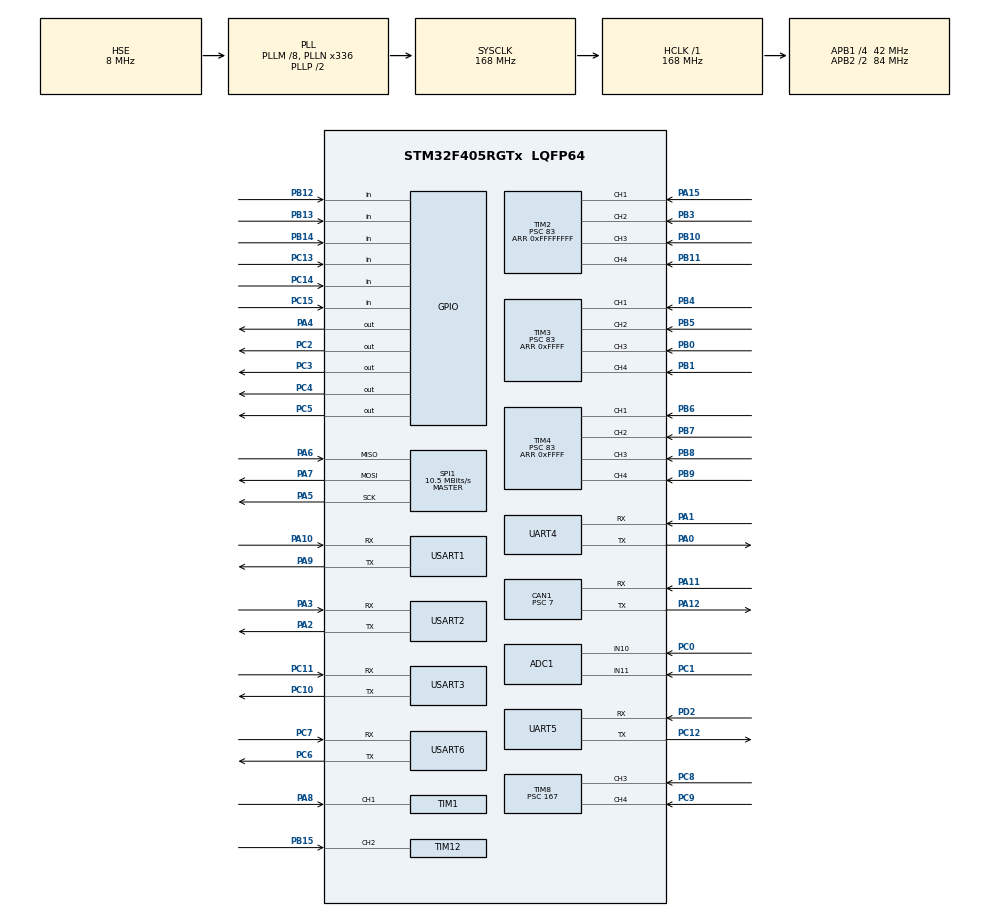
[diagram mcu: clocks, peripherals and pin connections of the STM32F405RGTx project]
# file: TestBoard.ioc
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ADC1.Channel-0\#ChannelRegularConversion=ADC_CHANNEL_10
ADC1.Channel-1\#ChannelRegularConversion=ADC_CHANNEL_11
ADC1.Channel-2\#ChannelRegularConversion=ADC_CHANNEL_VREFINT
ADC1.ContinuousConvMode=ENABLE
ADC1.DMAContinuousRequests=ENABLE
ADC1.NbrOfConversion=3
ADC1.NbrOfConversionFlag=1
ADC1.Rank-0\#ChannelRegularConversion=1
ADC1.Rank-1\#ChannelRegularConversion=2
ADC1.Rank-2\#ChannelRegularConversion=3
ADC1.SamplingTime-0\#ChannelRegularConversion=ADC_SAMPLETIME_480CYCLES
ADC1.SamplingTime-1\#ChannelRegularConversion=ADC_SAMPLETIME_480CYCLES
ADC1.SamplingTime-2\#ChannelRegularConversion=ADC_SAMPLETIME_480CYCLES
ADC1.ScanConvMode=ENABLE
ADC1.master=1
CAN1.ABOM=ENABLE
CAN1.BS1=CAN_BS1_3TQ
CAN1.BS2=CAN_BS2_2TQ
CAN1.CalculateTimeQuantum=166.66666666666669
CAN1.Prescaler=7
Dma.ADC1.12.Direction=DMA_PERIPH_TO_MEMORY
Dma.ADC1.12.FIFOMode=DMA_FIFOMODE_DISABLE
Dma.ADC1.12.Instance=DMA2_Stream0
Dma.ADC1.12.MemDataAlignment=DMA_MDATAALIGN_HALFWORD
Dma.ADC1.12.MemInc=DMA_MINC_ENABLE
Dma.ADC1.12.Mode=DMA_CIRCULAR
Dma.ADC1.12.PeriphDataAlignment=DMA_PDATAALIGN_HALFWORD
Dma.ADC1.12.PeriphInc=DMA_PINC_DISABLE
Dma.ADC1.12.Priority=DMA_PRIORITY_LOW
Dma.Request0=USART1_RX
Dma.Request1=USART1_TX
Dma.Request10=USART6_RX
Dma.Request11=USART6_TX
Dma.Request12=ADC1
Dma.Request2=USART2_RX
Dma.Request3=USART2_TX
Dma.Request4=USART3_RX
Dma.Request5=USART3_TX
Dma.Request6=UART4_RX
Dma.Request7=UART4_TX
Dma.Request8=UART5_RX
Dma.Request9=UART5_TX
Dma.UART4_RX.6.Direction=DMA_PERIPH_TO_MEMORY
Dma.UART4_RX.6.FIFOMode=DMA_FIFOMODE_DISABLE
Dma.UART4_RX.6.Instance=DMA1_Stream2
Dma.UART4_RX.6.MemDataAlignment=DMA_MDATAALIGN_BYTE
Dma.UART4_RX.6.MemInc=DMA_MINC_ENABLE
Dma.UART4_RX.6.Mode=DMA_CIRCULAR
Dma.UART4_RX.6.PeriphDataAlignment=DMA_PDATAALIGN_BYTE
Dma.UART4_RX.6.PeriphInc=DMA_PINC_DISABLE
Dma.UART4_RX.6.Priority=DMA_PRIORITY_LOW
Dma.UART4_TX.7.Direction=DMA_MEMORY_TO_PERIPH
Dma.UART4_TX.7.FIFOMode=DMA_FIFOMODE_DISABLE
Dma.UART4_TX.7.Instance=DMA1_Stream4
Dma.UART4_TX.7.MemDataAlignment=DMA_MDATAALIGN_BYTE
Dma.UART4_TX.7.MemInc=DMA_MINC_ENABLE
Dma.UART4_TX.7.Mode=DMA_NORMAL
Dma.UART4_TX.7.PeriphDataAlignment=DMA_PDATAALIGN_BYTE
Dma.UART4_TX.7.PeriphInc=DMA_PINC_DISABLE
Dma.UART4_TX.7.Priority=DMA_PRIORITY_LOW
Dma.UART5_RX.8.Direction=DMA_PERIPH_TO_MEMORY
Dma.UART5_RX.8.FIFOMode=DMA_FIFOMODE_DISABLE
Dma.UART5_RX.8.Instance=DMA1_Stream0
Dma.UART5_RX.8.MemDataAlignment=DMA_MDATAALIGN_BYTE
Dma.UART5_RX.8.MemInc=DMA_MINC_ENABLE
Dma.UART5_RX.8.Mode=DMA_CIRCULAR
Dma.UART5_RX.8.PeriphDataAlignment=DMA_PDATAALIGN_BYTE
Dma.UART5_RX.8.PeriphInc=DMA_PINC_DISABLE
Dma.UART5_RX.8.Priority=DMA_PRIORITY_LOW
Dma.UART5_TX.9.Direction=DMA_MEMORY_TO_PERIPH
Dma.UART5_TX.9.FIFOMode=DMA_FIFOMODE_DISABLE
Dma.UART5_TX.9.Instance=DMA1_Stream7
Dma.UART5_TX.9.MemDataAlignment=DMA_MDATAALIGN_BYTE
Dma.UART5_TX.9.MemInc=DMA_MINC_ENABLE
Dma.UART5_TX.9.Mode=DMA_NORMAL
Dma.UART5_TX.9.PeriphDataAlignment=DMA_PDATAALIGN_BYTE
Dma.UART5_TX.9.PeriphInc=DMA_PINC_DISABLE
Dma.UART5_TX.9.Priority=DMA_PRIORITY_LOW
Dma.USART1_RX.0.Direction=DMA_PERIPH_TO_MEMORY
Dma.USART1_RX.0.FIFOMode=DMA_FIFOMODE_DISABLE
Dma.USART1_RX.0.Instance=DMA2_Stream2
Dma.USART1_RX.0.MemDataAlignment=DMA_MDATAALIGN_BYTE
Dma.USART1_RX.0.MemInc=DMA_MINC_ENABLE
Dma.USART1_RX.0.Mode=DMA_CIRCULAR
Dma.USART1_RX.0.PeriphDataAlignment=DMA_PDATAALIGN_BYTE
Dma.USART1_RX.0.PeriphInc=DMA_PINC_DISABLE
Dma.USART1_RX.0.Priority=DMA_PRIORITY_LOW
Dma.USART1_TX.1.Direction=DMA_MEMORY_TO_PERIPH
Dma.USART1_TX.1.FIFOMode=DMA_FIFOMODE_DISABLE
Dma.USART1_TX.1.Instance=DMA2_Stream7
Dma.USART1_TX.1.MemDataAlignment=DMA_MDATAALIGN_BYTE
Dma.USART1_TX.1.MemInc=DMA_MINC_ENABLE
Dma.USART1_TX.1.Mode=DMA_NORMAL
Dma.USART1_TX.1.PeriphDataAlignment=DMA_PDATAALIGN_BYTE
Dma.USART1_TX.1.PeriphInc=DMA_PINC_DISABLE
Dma.USART1_TX.1.Priority=DMA_PRIORITY_LOW
Dma.USART2_RX.2.Direction=DMA_PERIPH_TO_MEMORY
Dma.USART2_RX.2.FIFOMode=DMA_FIFOMODE_DISABLE
Dma.USART2_RX.2.Instance=DMA1_Stream5
Dma.USART2_RX.2.MemDataAlignment=DMA_MDATAALIGN_BYTE
Dma.USART2_RX.2.MemInc=DMA_MINC_ENABLE
Dma.USART2_RX.2.Mode=DMA_CIRCULAR
Dma.USART2_RX.2.PeriphDataAlignment=DMA_PDATAALIGN_BYTE
Dma.USART2_RX.2.PeriphInc=DMA_PINC_DISABLE
Dma.USART2_RX.2.Priority=DMA_PRIORITY_LOW
Dma.USART2_TX.3.Direction=DMA_MEMORY_TO_PERIPH
Dma.USART2_TX.3.FIFOMode=DMA_FIFOMODE_DISABLE
Dma.USART2_TX.3.Instance=DMA1_Stream6
Dma.USART2_TX.3.MemDataAlignment=DMA_MDATAALIGN_BYTE
Dma.USART2_TX.3.MemInc=DMA_MINC_ENABLE
Dma.USART2_TX.3.Mode=DMA_NORMAL
Dma.USART2_TX.3.PeriphDataAlignment=DMA_PDATAALIGN_BYTE
Dma.USART2_TX.3.PeriphInc=DMA_PINC_DISABLE
Dma.USART2_TX.3.Priority=DMA_PRIORITY_LOW
Dma.USART3_RX.4.Direction=DMA_PERIPH_TO_MEMORY
Dma.USART3_RX.4.FIFOMode=DMA_FIFOMODE_DISABLE
Dma.USART3_RX.4.Instance=DMA1_Stream1
Dma.USART3_RX.4.MemDataAlignment=DMA_MDATAALIGN_BYTE
Dma.USART3_RX.4.MemInc=DMA_MINC_ENABLE
Dma.USART3_RX.4.Mode=DMA_CIRCULAR
Dma.USART3_RX.4.PeriphDataAlignment=DMA_PDATAALIGN_BYTE
Dma.USART3_RX.4.PeriphInc=DMA_PINC_DISABLE
Dma.USART3_RX.4.Priority=DMA_PRIORITY_LOW
Dma.USART3_TX.5.Direction=DMA_MEMORY_TO_PERIPH
Dma.USART3_TX.5.FIFOMode=DMA_FIFOMODE_DISABLE
Dma.USART3_TX.5.Instance=DMA1_Stream3
Dma.USART3_TX.5.MemDataAlignment=DMA_MDATAALIGN_BYTE
Dma.USART3_TX.5.MemInc=DMA_MINC_ENABLE
Dma.USART3_TX.5.Mode=DMA_NORMAL
Dma.USART3_TX.5.PeriphDataAlignment=DMA_PDATAALIGN_BYTE
Dma.USART3_TX.5.PeriphInc=DMA_PINC_DISABLE
Dma.USART3_TX.5.Priority=DMA_PRIORITY_LOW
Dma.USART6_RX.10.Direction=DMA_PERIPH_TO_MEMORY
Dma.USART6_RX.10.FIFOMode=DMA_FIFOMODE_DISABLE
Dma.USART6_RX.10.Instance=DMA2_Stream1
Dma.USART6_RX.10.MemDataAlignment=DMA_MDATAALIGN_BYTE
Dma.USART6_RX.10.MemInc=DMA_MINC_ENABLE
Dma.USART6_RX.10.Mode=DMA_CIRCULAR
Dma.USART6_RX.10.PeriphDataAlignment=DMA_PDATAALIGN_BYTE
Dma.USART6_RX.10.PeriphInc=DMA_PINC_DISABLE
Dma.USART6_RX.10.Priority=DMA_PRIORITY_LOW
Dma.USART6_TX.11.Direction=DMA_MEMORY_TO_PERIPH
Dma.USART6_TX.11.FIFOMode=DMA_FIFOMODE_DISABLE
Dma.USART6_TX.11.Instance=DMA2_Stream6
Dma.USART6_TX.11.MemDataAlignment=DMA_MDATAALIGN_BYTE
Dma.USART6_TX.11.MemInc=DMA_MINC_ENABLE
Dma.USART6_TX.11.Mode=DMA_NORMAL
Dma.USART6_TX.11.PeriphDataAlignment=DMA_PDATAALIGN_BYTE
Dma.USART6_TX.11.PeriphInc=DMA_PINC_DISABLE
Dma.USART6_TX.11.Priority=DMA_PRIORITY_LOW
Mcu.Family=STM32F4
Mcu.Name=STM32F405RGTx
Mcu.Package=LQFP64
NVIC.CAN1_RX0_IRQn=true\:0\:0\:false\:false\:true\:true\:true
NVIC.DMA1_Stream0_IRQn=true\:0\:0\:false\:false\:true\:false\:true
NVIC.DMA1_Stream1_IRQn=true\:0\:0\:false\:false\:true\:false\:true
NVIC.DMA1_Stream2_IRQn=true\:0\:0\:false\:false\:true\:false\:true
NVIC.DMA1_Stream3_IRQn=true\:0\:0\:false\:false\:true\:false\:true
NVIC.DMA1_Stream4_IRQn=true\:0\:0\:false\:false\:true\:false\:true
NVIC.DMA1_Stream5_IRQn=true\:0\:0\:false\:false\:true\:false\:true
NVIC.DMA1_Stream6_IRQn=true\:0\:0\:false\:false\:true\:false\:true
NVIC.DMA1_Stream7_IRQn=true\:0\:0\:false\:false\:true\:false\:true
NVIC.DMA2_Stream0_IRQn=true\:0\:0\:false\:false\:true\:false\:true
NVIC.DMA2_Stream1_IRQn=true\:0\:0\:false\:false\:true\:false\:true
NVIC.DMA2_Stream2_IRQn=true\:0\:0\:false\:false\:true\:false\:true
NVIC.DMA2_Stream6_IRQn=true\:0\:0\:false\:false\:true\:false\:true
NVIC.DMA2_Stream7_IRQn=true\:0\:0\:false\:false\:true\:false\:true
NVIC.PriorityGroup=NVIC_PRIORITYGROUP_1
NVIC.TIM1_CC_IRQn=true\:0\:0\:false\:false\:true\:true\:true
NVIC.TIM2_IRQn=true\:0\:0\:false\:false\:true\:true\:true
NVIC.TIM3_IRQn=true\:0\:0\:false\:false\:true\:true\:true
NVIC.TIM4_IRQn=true\:0\:0\:false\:false\:true\:true\:true
NVIC.TIM8_BRK_TIM12_IRQn=true\:0\:0\:false\:false\:true\:true\:true
NVIC.TIM8_CC_IRQn=true\:0\:0\:false\:false\:true\:true\:true
NVIC.UART4_IRQn=true\:0\:4\:false\:false\:true\:true\:true
NVIC.UART5_IRQn=true\:0\:5\:false\:false\:true\:true\:true
NVIC.USART1_IRQn=true\:0\:1\:false\:false\:true\:true\:true
NVIC.USART2_IRQn=true\:0\:2\:false\:false\:true\:true\:true
NVIC.USART3_IRQn=true\:0\:3\:false\:false\:true\:true\:true
NVIC.USART6_IRQn=true\:0\:6\:false\:false\:true\:true\:true
PA0-WKUP.Mode=Asynchronous
PA0-WKUP.Signal=UART4_TX
PA1.Mode=Asynchronous
PA1.Signal=UART4_RX
PA10.Mode=Asynchronous
PA10.Signal=USART1_RX
PA11.Mode=Master
PA11.Signal=CAN1_RX
PA12.Mode=Master
PA12.Signal=CAN1_TX
PA13.Mode=Serial_Wire
PA13.Signal=SYS_JTMS-SWDIO
PA14.Mode=Serial_Wire
PA14.Signal=SYS_JTCK-SWCLK
PA15.Signal=S_TIM2_CH1_ETR
PA2.Mode=Asynchronous
PA2.Signal=USART2_TX
PA3.Mode=Asynchronous
PA3.Signal=USART2_RX
PA4.Signal=GPIO_Output
PA5.Mode=Full_Duplex_Master
PA5.Signal=SPI1_SCK
PA6.Mode=Full_Duplex_Master
PA6.Signal=SPI1_MISO
PA7.Mode=Full_Duplex_Master
PA7.Signal=SPI1_MOSI
PA8.Signal=S_TIM1_CH1
PA9.Mode=Asynchronous
PA9.Signal=USART1_TX
PB0.Signal=S_TIM3_CH3
PB1.Signal=S_TIM3_CH4
PB10.Signal=S_TIM2_CH3
PB11.Signal=S_TIM2_CH4
PB12.GPIO_PuPd=GPIO_PULLDOWN
PB12.Signal=GPIO_Input
PB13.GPIO_PuPd=GPIO_PULLDOWN
PB13.Signal=GPIO_Input
PB14.GPIO_PuPd=GPIO_PULLDOWN
PB14.Signal=GPIO_Input
PB15.Signal=S_TIM12_CH2
PB3.Signal=S_TIM2_CH2
PB4.Signal=S_TIM3_CH1
PB5.Signal=S_TIM3_CH2
PB6.Signal=S_TIM4_CH1
PB7.Signal=S_TIM4_CH2
PB8.Signal=S_TIM4_CH3
PB9.Signal=S_TIM4_CH4
PC0.Signal=ADCx_IN10
PC1.Signal=ADCx_IN11
PC10.Mode=Asynchronous
PC10.Signal=USART3_TX
PC11.Mode=Asynchronous
PC11.Signal=USART3_RX
PC12.Mode=Asynchronous
PC12.Signal=UART5_TX
PC13-ANTI_TAMP.GPIO_PuPd=GPIO_PULLDOWN
PC13-ANTI_TAMP.Signal=GPIO_Input
PC14-OSC32_IN.GPIO_PuPd=GPIO_PULLDOWN
PC14-OSC32_IN.Signal=GPIO_Input
PC15-OSC32_OUT.GPIO_PuPd=GPIO_PULLDOWN
PC15-OSC32_OUT.Signal=GPIO_Input
PC2.Signal=GPIO_Output
PC3.Signal=GPIO_Output
PC4.Signal=GPIO_Output
PC5.Signal=GPIO_Output
PC6.Mode=Asynchronous
PC6.Signal=USART6_TX
PC7.Mode=Asynchronous
PC7.Signal=USART6_RX
PC8.Signal=S_TIM8_CH3
PC9.Signal=S_TIM8_CH4
PD2.Mode=Asynchronous
PD2.Signal=UART5_RX
PH0-OSC_IN.Mode=HSE-External-Oscillator
PH0-OSC_IN.Signal=RCC_OSC_IN
PH1-OSC_OUT.Mode=HSE-External-Oscillator
PH1-OSC_OUT.Signal=RCC_OSC_OUT
ProjectManager.HeapSize=0x200
ProjectManager.StackSize=0x400
ProjectManager.TargetToolchain=Makefile
RCC.48MHZClocksFreq_Value=84000000
RCC.AHBFreq_Value=168000000
RCC.APB1CLKDivider=RCC_HCLK_DIV4
RCC.APB1Freq_Value=42000000
RCC.APB1TimFreq_Value=84000000
RCC.APB2CLKDivider=RCC_HCLK_DIV2
RCC.APB2Freq_Value=84000000
RCC.APB2TimFreq_Value=168000000
RCC.CortexFreq_Value=168000000
RCC.HCLKFreq_Value=168000000
RCC.HSE_VALUE=8000000
RCC.HSI_VALUE=16000000
RCC.LSE_VALUE=32768
RCC.PLLM=8
RCC.PLLN=336
RCC.PLLSourceVirtual=RCC_PLLSOURCE_HSE
RCC.SYSCLKFreq_VALUE=168000000
RCC.SYSCLKSource=RCC_SYSCLKSOURCE_PLLCLK
RCC.VCOOutputFreq_Value=336000000
SH.ADCx_IN10.0=ADC1_IN10,IN10
SH.ADCx_IN11.0=ADC1_IN11,IN11
SH.S_TIM12_CH2.0=TIM12_CH2,Input_Capture2_from_TI2
SH.S_TIM1_CH1.0=TIM1_CH1,Input_Capture1_from_TI1
SH.S_TIM2_CH1_ETR.0=TIM2_CH1,Input_Capture1_from_TI1
SH.S_TIM2_CH2.0=TIM2_CH2,Input_Capture2_from_TI2
SH.S_TIM2_CH3.0=TIM2_CH3,Input_Capture3_from_TI3
SH.S_TIM2_CH4.0=TIM2_CH4,Input_Capture4_from_TI4
SH.S_TIM3_CH1.0=TIM3_CH1,Input_Capture1_from_TI1
SH.S_TIM3_CH2.0=TIM3_CH2,Input_Capture2_from_TI2
SH.S_TIM3_CH3.0=TIM3_CH3,Input_Capture3_from_TI3
SH.S_TIM3_CH4.0=TIM3_CH4,Input_Capture4_from_TI4
SH.S_TIM4_CH1.0=TIM4_CH1,Input_Capture1_from_TI1
SH.S_TIM4_CH2.0=TIM4_CH2,Input_Capture2_from_TI2
SH.S_TIM4_CH3.0=TIM4_CH3,Input_Capture3_from_TI3
SH.S_TIM4_CH4.0=TIM4_CH4,Input_Capture4_from_TI4
SH.S_TIM8_CH3.0=TIM8_CH3,Input_Capture3_from_TI3
SH.S_TIM8_CH4.0=TIM8_CH4,Input_Capture4_from_TI4
SPI1.BaudRatePrescaler=SPI_BAUDRATEPRESCALER_8
SPI1.CLKPolarity=SPI_POLARITY_LOW
SPI1.CalculateBaudRate=10.5 MBits/s
SPI1.DataSize=SPI_DATASIZE_16BIT
SPI1.Direction=SPI_DIRECTION_2LINES
SPI1.Mode=SPI_MODE_MASTER
SPI1.VirtualType=VM_MASTER
TIM1.Channel-Input_Capture1_from_TI1=TIM_CHANNEL_1
TIM1.ICPolarity_CH1=TIM_INPUTCHANNELPOLARITY_RISING
TIM1.Period=0xFFFF
TIM1.Prescaler=167
TIM12.Channel-Input_Capture2_from_TI2=TIM_CHANNEL_2
TIM12.ICPolarity_CH2=TIM_INPUTCHANNELPOLARITY_RISING
TIM12.Period=0xFFFF
TIM12.Prescaler=167
TIM2.Channel-Input_Capture1_from_TI1=TIM_CHANNEL_1
TIM2.Channel-Input_Capture2_from_TI2=TIM_CHANNEL_2
TIM2.Channel-Input_Capture3_from_TI3=TIM_CHANNEL_3
TIM2.Channel-Input_Capture4_from_TI4=TIM_CHANNEL_4
TIM2.ICPolarity_CH1=TIM_INPUTCHANNELPOLARITY_RISING
TIM2.ICPolarity_CH2=TIM_INPUTCHANNELPOLARITY_RISING
TIM2.ICPolarity_CH3=TIM_INPUTCHANNELPOLARITY_RISING
TIM2.ICPolarity_CH4=TIM_INPUTCHANNELPOLARITY_RISING
TIM2.Period=0xFFFFFFFF
TIM2.Prescaler=83
TIM3.Channel-Input_Capture1_from_TI1=TIM_CHANNEL_1
TIM3.Channel-Input_Capture2_from_TI2=TIM_CHANNEL_2
TIM3.Channel-Input_Capture3_from_TI3=TIM_CHANNEL_3
TIM3.Channel-Input_Capture4_from_TI4=TIM_CHANNEL_4
TIM3.ICPolarity_CH1=TIM_INPUTCHANNELPOLARITY_RISING
TIM3.ICPolarity_CH2=TIM_INPUTCHANNELPOLARITY_RISING
TIM3.ICPolarity_CH3=TIM_INPUTCHANNELPOLARITY_RISING
TIM3.ICPolarity_CH4=TIM_INPUTCHANNELPOLARITY_RISING
TIM3.Period=0xFFFF
TIM3.Prescaler=83
TIM4.Channel-Input_Capture1_from_TI1=TIM_CHANNEL_1
TIM4.Channel-Input_Capture2_from_TI2=TIM_CHANNEL_2
TIM4.Channel-Input_Capture3_from_TI3=TIM_CHANNEL_3
TIM4.Channel-Input_Capture4_from_TI4=TIM_CHANNEL_4
TIM4.ICPolarity_CH1=TIM_INPUTCHANNELPOLARITY_RISING
TIM4.ICPolarity_CH2=TIM_INPUTCHANNELPOLARITY_RISING
TIM4.ICPolarity_CH3=TIM_INPUTCHANNELPOLARITY_RISING
TIM4.ICPolarity_CH4=TIM_INPUTCHANNELPOLARITY_RISING
TIM4.Period=0xFFFF
TIM4.Prescaler=83
TIM8.Channel-Input_Capture3_from_TI3=TIM_CHANNEL_3
TIM8.Channel-Input_Capture4_from_TI4=TIM_CHANNEL_4
TIM8.ICPolarity_CH3=TIM_INPUTCHANNELPOLARITY_RISING
TIM8.ICPolarity_CH4=TIM_INPUTCHANNELPOLARITY_RISING
TIM8.Period=0xFFFF
TIM8.Prescaler=167
UART4.VirtualMode=Asynchronous
UART5.VirtualMode=Asynchronous
USART1.VirtualMode=VM_ASYNC
USART2.VirtualMode=VM_ASYNC
USART3.VirtualMode=VM_ASYNC
USART6.VirtualMode=VM_ASYNC
VP_ADC1_Vref_Input.Mode=IN-Vrefint
VP_TIM12_VS_ClockSourceINT.Mode=Internal
VP_TIM1_VS_ClockSourceINT.Mode=Internal
VP_TIM2_VS_ClockSourceINT.Mode=Internal
VP_TIM3_VS_ClockSourceINT.Mode=Internal
VP_TIM4_VS_ClockSourceINT.Mode=Internal
VP_TIM8_VS_ClockSourceINT.Mode=Internal
board=custom

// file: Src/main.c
/* USER CODE BEGIN Header */
/**
 ******************************************************************************
 * @file           : main.c
 * @brief          : Main program body
 ******************************************************************************
 * @attention
 *
 * <h2><center>&copy; Copyright (c) 2019 STMicroelectronics.
 * All rights reserved.</center></h2>
 *
 * This software component is licensed by ST under BSD 3-Clause license,
 * the "License"; You may not use this file except in compliance with the
 * License. You may obtain a copy of the License at:
 *                        opensource.org/licenses/BSD-3-Clause
 *
 ******************************************************************************
 */
/* USER CODE END Header */

#include "main.h"
#include "adc.h"
#include "can.h"
#include "dma.h"
#include "spi.h"
#include "tim.h"
#include "usart.h"
#include "gpio.h"

/* USER CODE BEGIN Includes */
#include "delay.h"
#include "soft_adc.h"
#include "soft_can.h"
#include "soft_dac.h"
#include "soft_gpio.h"
#include "soft_pwmin.h"
/* USER CODE END Includes */

void SystemClock_Config(void);

int main(void)
{

  /* MCU Configuration--------------------------------------------------------*/

  /* Reset of all peripherals, Initializes the Flash interface and the Systick. */
  HAL_Init();

  /* Configure the system clock */
  SystemClock_Config();

  /* Initialize all configured peripherals */
  MX_GPIO_Init();
  MX_DMA_Init();
  MX_ADC1_Init();
  MX_CAN1_Init();
  MX_SPI1_Init();
  MX_TIM1_Init();
  MX_TIM2_Init();
  MX_TIM3_Init();
  MX_TIM4_Init();
  MX_TIM8_Init();
  MX_TIM12_Init();
  MX_UART4_Init();
  MX_UART5_Init();
  MX_USART1_UART_Init();
  MX_USART2_UART_Init();
  MX_USART3_UART_Init();
  MX_USART6_UART_Init();
  /* USER CODE BEGIN 2 */
    CAN_Bus_FilterConfig();
    PwmCapture_Config();
    Usart_Config();
    ADC_Config();
    DAC_InitConfig();

    uint32_t lastTime, count;
  /* USER CODE END 2 */

  /* Infinite loop */
  /* USER CODE BEGIN WHILE */
    while (1)
    {
        HAL_Delay(50);
        DAC_SetCHVolt(0, 10.0f);
        DAC_SetCHVolt(1, 20.0f);
        DAC_SetCHVolt(2, 30.0f);
        DAC_SetCHVolt(3, 40.0f);

        // CAN_Bus_Service();

        // ADC_VoltageUpdate();

    /* USER CODE END WHILE */

    }
}

void SystemClock_Config(void)
{
  RCC_OscInitTypeDef RCC_OscInitStruct = {0};
  RCC_ClkInitTypeDef RCC_ClkInitStruct = {0};

  /** Configure the main internal regulator output voltage
  */
  __HAL_RCC_PWR_CLK_ENABLE();
  __HAL_PWR_VOLTAGESCALING_CONFIG(PWR_REGULATOR_VOLTAGE_SCALE1);
  /** Initializes the CPU, AHB and APB busses clocks
  */
  RCC_OscInitStruct.OscillatorType = RCC_OSCILLATORTYPE_HSE;
  RCC_OscInitStruct.HSEState = RCC_HSE_ON;
  RCC_OscInitStruct.PLL.PLLState = RCC_PLL_ON;
  RCC_OscInitStruct.PLL.PLLSource = RCC_PLLSOURCE_HSE;
  RCC_OscInitStruct.PLL.PLLM = 8;
  RCC_OscInitStruct.PLL.PLLN = 336;
  RCC_OscInitStruct.PLL.PLLP = RCC_PLLP_DIV2;
  RCC_OscInitStruct.PLL.PLLQ = 4;
  if (HAL_RCC_OscConfig(&RCC_OscInitStruct) != HAL_OK)
  {
    Error_Handler();
  }
  /** Initializes the CPU, AHB and APB busses clocks
  */
  RCC_ClkInitStruct.ClockType = RCC_CLOCKTYPE_HCLK|RCC_CLOCKTYPE_SYSCLK
                              |RCC_CLOCKTYPE_PCLK1|RCC_CLOCKTYPE_PCLK2;
  RCC_ClkInitStruct.SYSCLKSource = RCC_SYSCLKSOURCE_PLLCLK;
  RCC_ClkInitStruct.AHBCLKDivider = RCC_SYSCLK_DIV1;
  RCC_ClkInitStruct.APB1CLKDivider = RCC_HCLK_DIV4;
  RCC_ClkInitStruct.APB2CLKDivider = RCC_HCLK_DIV2;

  if (HAL_RCC_ClockConfig(&RCC_ClkInitStruct, FLASH_LATENCY_5) != HAL_OK)
  {
    Error_Handler();
  }
}

void Error_Handler(void)
{
  /* USER CODE BEGIN Error_Handler_Debug */
    /* User can add his own implementation to report the HAL error return state
     */

  /* USER CODE END Error_Handler_Debug */
}

#ifdef  USE_FULL_ASSERT
/**
  * @brief  Reports the name of the source file and the source line number
  *         where the assert_param error has occurred.
  * @param  file: pointer to the source file name
  * @param  line: assert_param error line source number
  * @retval None
  */
void assert_failed(uint8_t *file, uint32_t line)
{
  /* USER CODE BEGIN 6 */
    /* User can add his own implementation to report the file name and line
         number, tex: printf("Wrong parameters value: file %s on line %d\r\n",
         file, line) */
  /* USER CODE END 6 */
}
#endif /* USE_FULL_ASSERT */

/************************ (C) COPYRIGHT STMicroelectronics *****END OF FILE****/
